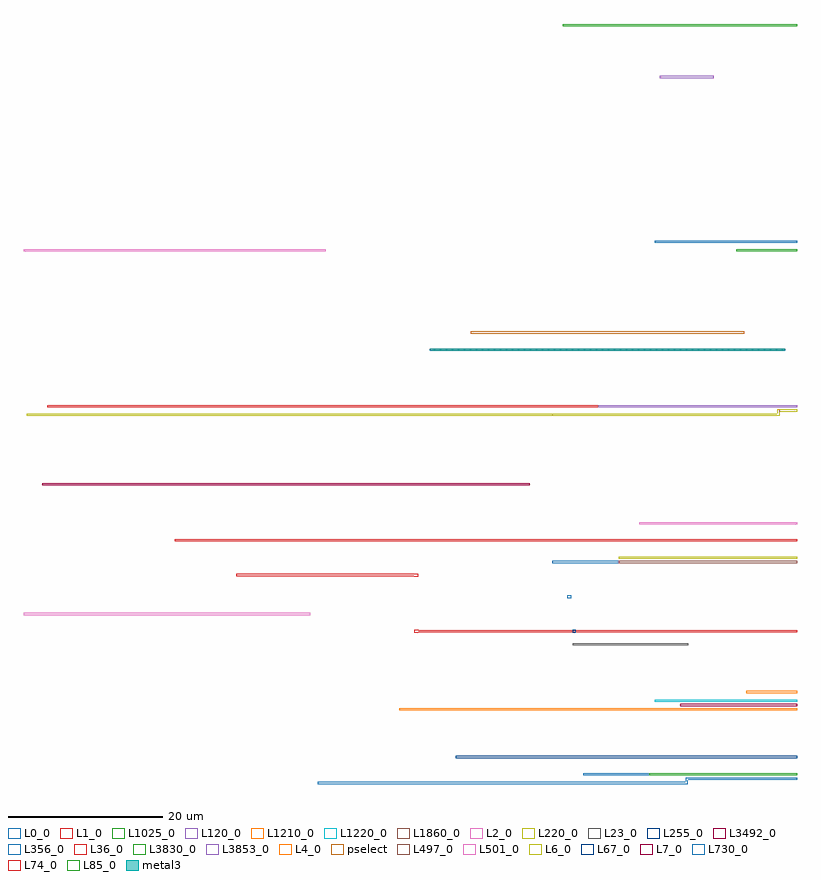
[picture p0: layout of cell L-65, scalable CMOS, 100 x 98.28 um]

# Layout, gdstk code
import gdstk
lib = gdstk.Library(unit=1e-6, precision=1e-09)
def P(c, l, *ps):  # polygons
    for p in ps: c.add(gdstk.Polygon(p, *l))
L0_0 = (0, 0)
L1_0 = (1, 0)
L2_0 = (2, 0)
L4_0 = (4, 0)
L6_0 = (6, 0)
L7_0 = (7, 0)
L23_0 = (23, 0)
L36_0 = (36, 0)
pselect = (44, 0)
metal3 = (62, 0)
L67_0 = (67, 0)
L74_0 = (74, 0)
L85_0 = (85, 0)
L120_0 = (120, 0)
L220_0 = (220, 0)
L255_0 = (255, 0)
L356_0 = (356, 0)
L497_0 = (497, 0)
L501_0 = (501, 0)
L730_0 = (730, 0)
L1025_0 = (1025, 0)
L1210_0 = (1210, 0)
L1220_0 = (1220, 0)
L1860_0 = (1860, 0)
L3492_0 = (3492, 0)
L3830_0 = (3830, 0)
L3853_0 = (3853, 0)

l_65 = lib.new_cell('L-65')
P(l_65, L0_0, [(938,901.46),(938.38,901.46),(938.38,901.18),(938,901.18),(938,901.46)],
  [(938.05,901.46),(985.85,901.46),(985.85,901.18),(938.05,901.18),(938.05,901.46)],
  [(985.57,901.18),(985.57,902.02),(985.85,902.02),(985.85,901.18),(985.57,901.18)],
  [(1000,901.74),(985.57,901.74),(985.57,902.02),(1000,902.02),(1000,901.74)],
  [(972.37,902.58),(981.23,902.58),(981.23,902.3),(972.37,902.3),(972.37,902.58)],
  [(1000,902.3),(980.95,902.3),(980.95,902.58),(1000,902.58),(1000,902.3)],
  [(972.32,902.58),(972.7,902.58),(972.7,902.3),(972.32,902.3),(972.32,902.58)],
  [(980.9,902.58),(981.28,902.58),(981.28,902.3),(980.9,902.3),(980.9,902.58)],
  [(970.26,925.59),(970.8,925.59),(970.8,925.21),(970.26,925.21),(970.26,925.59)],
  [(970.34,925.54),(970.72,925.54),(970.72,925.26),(970.34,925.26),(970.34,925.54)])
P(l_65, L1_0, [(950.49,928.39),(950.97,928.39),(950.97,928.01),(950.49,928.01),(950.49,928.39)],
  [(927.44,928.34),(927.82,928.34),(927.82,928.06),(927.44,928.06),(927.44,928.34)],
  [(927.49,928.34),(950.87,928.34),(950.87,928.06),(927.49,928.06),(927.49,928.34)],
  [(1000,920.78),(950.59,920.78),(950.59,921.06),(1000,921.06),(1000,920.78)],
  [(950.49,921.11),(950.97,921.11),(950.97,920.73),(950.49,920.73),(950.49,921.11)])
P(l_65, L2_0, [(900,970.34),(938.99,970.34),(938.99,970.06),(900,970.06),(900,970.34)],
  [(938.66,970.34),(939.04,970.34),(939.04,970.06),(938.66,970.06),(938.66,970.34)],
  [(900,923.3),(937.01,923.3),(937.01,923.02),(900,923.02),(900,923.3)],
  [(936.68,923.3),(937.06,923.3),(937.06,923.02),(936.68,923.02),(936.68,923.3)])
P(l_65, L4_0, [(948.61,910.98),(950.21,910.98),(950.21,910.7),(948.61,910.7),(948.61,910.98)],
  [(1000,910.7),(949.93,910.7),(949.93,910.98),(1000,910.98),(1000,910.7)],
  [(948.56,910.98),(948.94,910.98),(948.94,910.7),(948.56,910.7),(948.56,910.98)],
  [(949.88,910.98),(950.26,910.98),(950.26,910.7),(949.88,910.7),(949.88,910.98)],
  [(1000,910.7),(949.93,910.7),(949.93,910.98),(1000,910.98),(1000,910.7)],
  [(949.88,910.98),(950.26,910.98),(950.26,910.7),(949.88,910.7),(949.88,910.98)])
P(l_65, L6_0, [(1000,930.3),(976.99,930.3),(976.99,930.58),(1000,930.58),(1000,930.3)],
  [(976.94,930.58),(977.32,930.58),(977.32,930.3),(976.94,930.3),(976.94,930.58)])
P(l_65, L7_0, [(902.41,940.1),(965.39,940.1),(965.39,939.82),(902.41,939.82),(902.41,940.1)],
  [(965.06,940.1),(965.44,940.1),(965.44,939.82),(965.06,939.82),(965.06,940.1)],
  [(902.36,940.1),(902.74,940.1),(902.74,939.82),(902.36,939.82),(902.36,940.1)])
P(l_65, L23_0, [(985.52,919.38),(985.9,919.38),(985.9,919.1),(985.52,919.1),(985.52,919.38)],
  [(971.05,919.38),(985.85,919.38),(985.85,919.1),(971.05,919.1),(971.05,919.38)],
  [(971,919.38),(971.38,919.38),(971.38,919.1),(971,919.1),(971,919.38)])
P(l_65, L36_0, [(903.02,950.18),(903.4,950.18),(903.4,949.9),(903.02,949.9),(903.02,950.18)],
  [(974.3,950.18),(974.68,950.18),(974.68,949.9),(974.3,949.9),(974.3,950.18)],
  [(903.07,950.18),(974.63,950.18),(974.63,949.9),(903.07,949.9),(903.07,950.18)],
  [(1000,949.9),(974.35,949.9),(974.35,950.18),(1000,950.18),(1000,949.9)])
P(l_65, pselect, [(957.8,959.7),(958.18,959.7),(958.18,959.42),(957.8,959.42),(957.8,959.7)],
  [(957.85,959.7),(993.11,959.7),(993.11,959.42),(957.85,959.42),(957.85,959.7)],
  [(992.78,959.7),(993.16,959.7),(993.16,959.42),(992.78,959.42),(992.78,959.7)])
P(l_65, metal3, [(998.06,957.46),(998.44,957.46),(998.44,957.18),(998.06,957.18),(998.06,957.46)],
  [(952.52,957.46),(952.9,957.46),(952.9,957.18),(952.52,957.18),(952.52,957.46)],
  [(952.57,957.46),(998.39,957.46),(998.39,957.18),(952.57,957.18),(952.57,957.46)])
P(l_65, L67_0, [(955.82,904.82),(956.2,904.82),(956.2,904.54),(955.82,904.54),(955.82,904.82)],
  [(1000,904.54),(955.87,904.54),(955.87,904.82),(1000,904.82),(1000,904.54)])
P(l_65, L74_0, [(1000,932.54),(919.57,932.54),(919.57,932.82),(1000,932.82),(1000,932.54)],
  [(919.52,932.82),(919.9,932.82),(919.9,932.54),(919.52,932.54),(919.52,932.82)])
P(l_65, L85_0, [(969.68,999.46),(970.06,999.46),(970.06,999.18),(969.68,999.18),(969.68,999.46)],
  [(1000,999.18),(969.73,999.18),(969.73,999.46),(1000,999.46),(1000,999.18)])
P(l_65, L120_0, [(988.82,992.74),(989.2,992.74),(989.2,992.46),(988.82,992.46),(988.82,992.74)],
  [(982.22,992.74),(982.6,992.74),(982.6,992.46),(982.22,992.46),(982.22,992.74)],
  [(982.27,992.74),(989.15,992.74),(989.15,992.46),(982.27,992.46),(982.27,992.74)])
P(l_65, L220_0, [(900.43,949.06),(968.69,949.06),(968.69,948.78),(900.43,948.78),(900.43,949.06)],
  [(968.41,949.06),(997.73,949.06),(997.73,948.78),(968.41,948.78),(968.41,949.06)],
  [(997.45,948.78),(997.45,949.62),(997.73,949.62),(997.73,948.78),(997.45,948.78)],
  [(1000,949.34),(997.45,949.34),(997.45,949.62),(1000,949.62),(1000,949.34)],
  [(900.38,949.06),(900.76,949.06),(900.76,948.78),(900.38,948.78),(900.38,949.06)],
  [(968.36,949.06),(968.74,949.06),(968.74,948.78),(968.36,948.78),(968.36,949.06)])
P(l_65, L255_0, [(970.982,920.755),(970.982,921.155),(971.382,921.155),(971.382,920.755),(970.982,920.755)])
P(l_65, L356_0, [(968.41,930.02),(977.27,930.02),(977.27,929.74),(968.41,929.74),(968.41,930.02)],
  [(1000,929.74),(976.99,929.74),(976.99,930.02),(1000,930.02),(1000,929.74)],
  [(976.94,930.02),(977.32,930.02),(977.32,929.74),(976.94,929.74),(976.94,930.02)],
  [(968.36,930.02),(968.74,930.02),(968.74,929.74),(968.36,929.74),(968.36,930.02)])
P(l_65, L497_0, [(1000,929.74),(976.99,929.74),(976.99,930.02),(1000,930.02),(1000,929.74)],
  [(976.94,930.02),(977.32,930.02),(977.32,929.74),(976.94,929.74),(976.94,930.02)])
P(l_65, L501_0, [(1000,934.78),(979.63,934.78),(979.63,935.06),(1000,935.06),(1000,934.78)],
  [(979.58,935.06),(979.96,935.06),(979.96,934.78),(979.58,934.78),(979.58,935.06)])
P(l_65, L730_0, [(1000,971.18),(981.61,971.18),(981.61,971.46),(1000,971.46),(1000,971.18)],
  [(981.56,971.46),(981.94,971.46),(981.94,971.18),(981.56,971.18),(981.56,971.46)])
P(l_65, L1025_0, [(1000,902.3),(980.95,902.3),(980.95,902.58),(1000,902.58),(1000,902.3)],
  [(980.9,902.58),(981.28,902.58),(981.28,902.3),(980.9,902.3),(980.9,902.58)])
P(l_65, L1210_0, [(1000,912.94),(993.49,912.94),(993.49,913.22),(1000,913.22),(1000,912.94)],
  [(993.44,913.22),(993.82,913.22),(993.82,912.94),(993.44,912.94),(993.44,913.22)])
P(l_65, L1220_0, [(981.56,912.1),(981.94,912.1),(981.94,911.82),(981.56,911.82),(981.56,912.1)],
  [(1000,911.82),(981.61,911.82),(981.61,912.1),(1000,912.1),(1000,911.82)])
P(l_65, L1860_0, [(968.36,949.06),(968.74,949.06),(968.74,948.78),(968.36,948.78),(968.36,949.06)],
  [(968.41,949.06),(997.73,949.06),(997.73,948.78),(968.41,948.78),(968.41,949.06)],
  [(997.45,948.78),(997.45,949.62),(997.73,949.62),(997.73,948.78),(997.45,948.78)])
P(l_65, L3492_0, [(1000,911.26),(984.91,911.26),(984.91,911.54),(1000,911.54),(1000,911.26)],
  [(984.86,911.54),(985.24,911.54),(985.24,911.26),(984.86,911.26),(984.86,911.54)])
P(l_65, L3830_0, [(1000,970.06),(992.17,970.06),(992.17,970.34),(1000,970.34),(1000,970.06)],
  [(992.12,970.34),(992.5,970.34),(992.5,970.06),(992.12,970.06),(992.12,970.34)])
P(l_65, L3853_0, [(974.3,950.18),(974.68,950.18),(974.68,949.9),(974.3,949.9),(974.3,950.18)],
  [(1000,949.9),(974.35,949.9),(974.35,950.18),(1000,950.18),(1000,949.9)])

lib.write_gds('L-65.gds')
